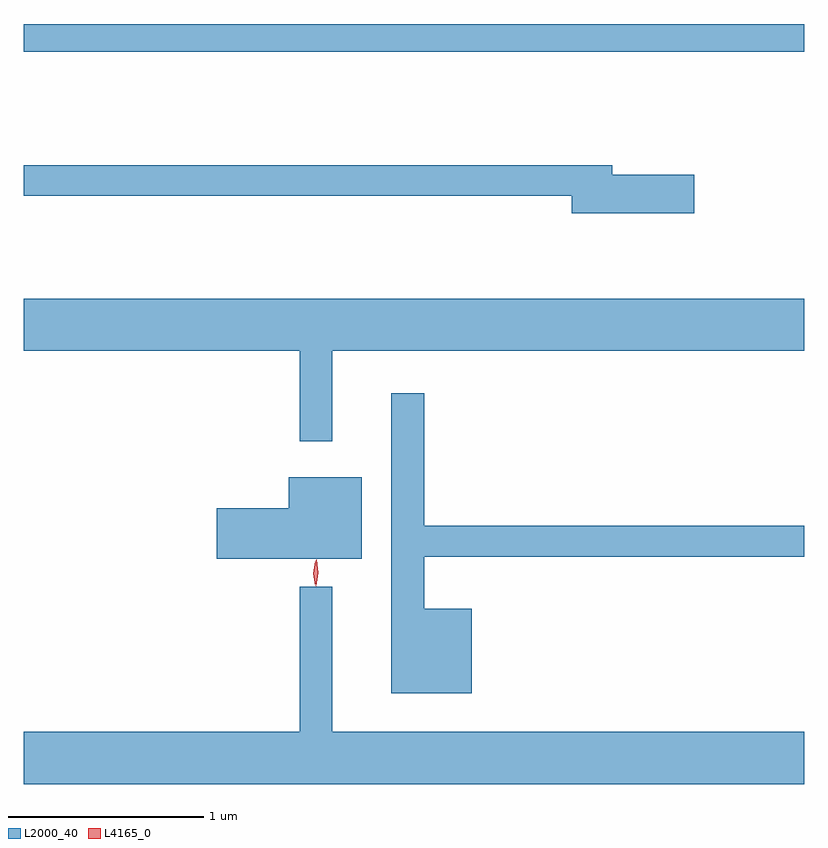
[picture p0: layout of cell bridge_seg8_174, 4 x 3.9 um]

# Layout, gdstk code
import gdstk
lib = gdstk.Library(unit=1e-6, precision=1e-09)
def R(c, l, rs):  # rectangles x0, y0, x1, y1
    for r in rs: c.add(gdstk.rectangle(r[:2], r[2:], *l))
def P(c, l, *ps):  # polygons
    for p in ps: c.add(gdstk.Polygon(p, *l))
L2000_40 = (2000, 40)
L4165_0 = (4165, 0)

bridge_seg8_174 = lib.new_cell('bridge_seg8_174')
R(bridge_seg8_174, L2000_40, [(1308.767,1940.071,1312.767,1940.212)])
P(bridge_seg8_174, L2000_40, [(1312.204,1939.439),(1311.784,1939.439),(1311.784,1939.489),(1308.767,1939.489),(1308.767,1939.331),(1311.576,1939.331),(1311.576,1939.241),(1312.204,1939.241)],
  [(1308.767,1938.536),(1310.181,1938.536),(1310.181,1938.073),(1310.349,1938.073),(1310.349,1938.536),(1312.767,1938.536),(1312.767,1938.804),(1308.767,1938.804)],
  [(1311.064,1937.214),(1310.819,1937.214),(1310.819,1937.481),(1312.767,1937.481),(1312.767,1937.639),(1310.819,1937.639),(1310.819,1938.318),(1310.651,1938.318),(1310.651,1936.781),(1311.064,1936.781)],
  [(1310.499,1937.889),(1310.126,1937.889),(1310.126,1937.729),(1309.756,1937.729),(1309.756,1937.471),(1310.499,1937.471)],
  [(1312.767,1936.584),(1310.349,1936.584),(1310.349,1937.328),(1310.181,1937.328),(1310.181,1936.584),(1308.767,1936.584),(1308.767,1936.316),(1312.767,1936.316)])
P(bridge_seg8_174, L4165_0, [(1310.265,1937.33),(1310.257,1937.398),(1310.267,1937.466),(1310.267,1937.466),(1310.268,1937.466),(1310.277,1937.398),(1310.266,1937.33),(1310.266,1937.33)],
  [(1310.26,1937.333),(1310.25,1937.396),(1310.26,1937.459),(1310.26,1937.46),(1310.261,1937.459),(1310.27,1937.396),(1310.261,1937.333),(1310.261,1937.333)])

lib.write_gds('bridge_seg8_174.gds')
